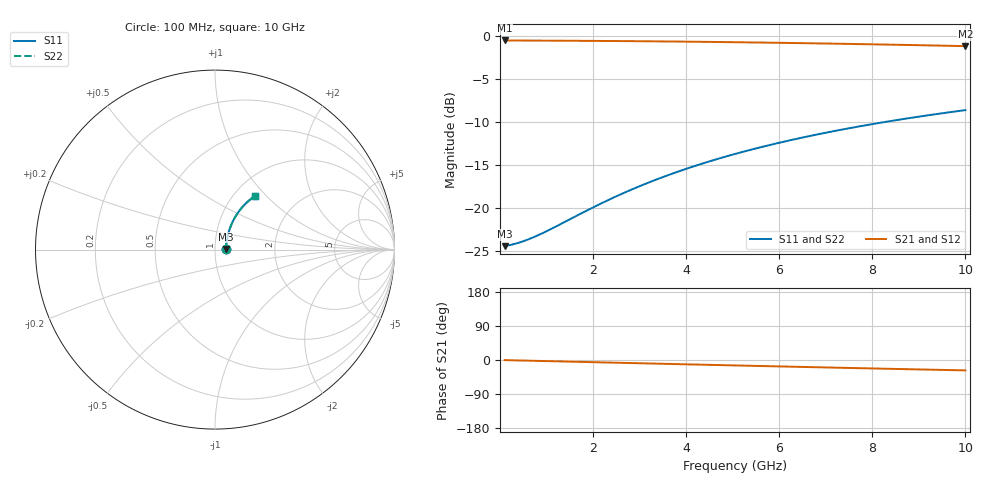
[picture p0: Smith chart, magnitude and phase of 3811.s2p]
# Hz S RI R 50.00
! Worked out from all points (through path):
!   100 points, 100 MHz to 10 GHz, reference 50 ohm
!   highest |S21| = -0.54 dB at 100 MHz (marker M1); lowest = -1.2 dB at 10 GHz (marker M2)
!   group delay of S21, straight-line fit = 7.64 ps
!   lowest |S11| = -24.4 dB at 100 MHz (marker M3), VSWR 1.13, Z = 56.4 + j0.419 ohm
!   |S11| at or under -10 dB: start of sweep to 8.266 GHz
!   |S22| runs from -24.4 to -8.6 dB; largest |S21 - S12| = 0
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1e8  0.0602 0.0037  0.9398 -0.00473  0.9398 -0.00473  0.0602 0.0037
3e8  0.061 0.0111  0.939 -0.0142  0.939 -0.0142  0.061 0.0111
4e8  0.0613 0.0148  0.9387 -0.0189  0.9387 -0.0189  0.0613 0.0148
5e8  0.0617 0.0184  0.9383 -0.0236  0.9383 -0.0236  0.0617 0.0184
7e8  0.0624 0.0258  0.9376 -0.033  0.9376 -0.033  0.0624 0.0258
9e8  0.0633 0.0331  0.9367 -0.0423  0.9367 -0.0423  0.0633 0.0331
1.1e9  0.0642 0.0404  0.9357 -0.0517  0.9357 -0.0517  0.0642 0.0404
1.8e9  0.0685 0.0658  0.9313 -0.0842  0.9313 -0.0842  0.0685 0.0658
2.2e9  0.0717 0.08  0.928 -0.1026  0.928 -0.1026  0.0717 0.08
2.6e9  0.0754 0.0942  0.9242 -0.1208  0.9242 -0.1208  0.0754 0.0942
3e9  0.0796 0.1081  0.9199 -0.1388  0.9199 -0.1388  0.0796 0.1081
3.4e9  0.0844 0.1217  0.915 -0.1566  0.915 -0.1566  0.0844 0.1217
3.8e9  0.0896 0.1352  0.9096 -0.1742  0.9096 -0.1742  0.0896 0.1352
4.2e9  0.0953 0.1483  0.9037 -0.1915  0.9037 -0.1915  0.0953 0.1483
4.6e9  0.1015 0.1612  0.8973 -0.2084  0.8973 -0.2084  0.1015 0.1612
5.1e9  0.1099 0.1768  0.8886 -0.2292  0.8886 -0.2292  0.1099 0.1768
5.9e9  0.1247 0.2007  0.8733 -0.2613  0.8733 -0.2613  0.1247 0.2007
6.7e9  0.1411 0.223  0.8564 -0.292  0.8564 -0.292  0.1411 0.223
7.5e9  0.1588 0.2438  0.8381 -0.3211  0.8381 -0.3211  0.1588 0.2438
8.4e9  0.1802 0.2652  0.8159 -0.3518  0.8159 -0.3518  0.1802 0.2652
9.2e9  0.2002 0.2823  0.7951 -0.3773  0.7951 -0.3773  0.2002 0.2823
1e10  0.221 0.2977  0.7735 -0.401  0.7735 -0.401  0.221 0.2977
